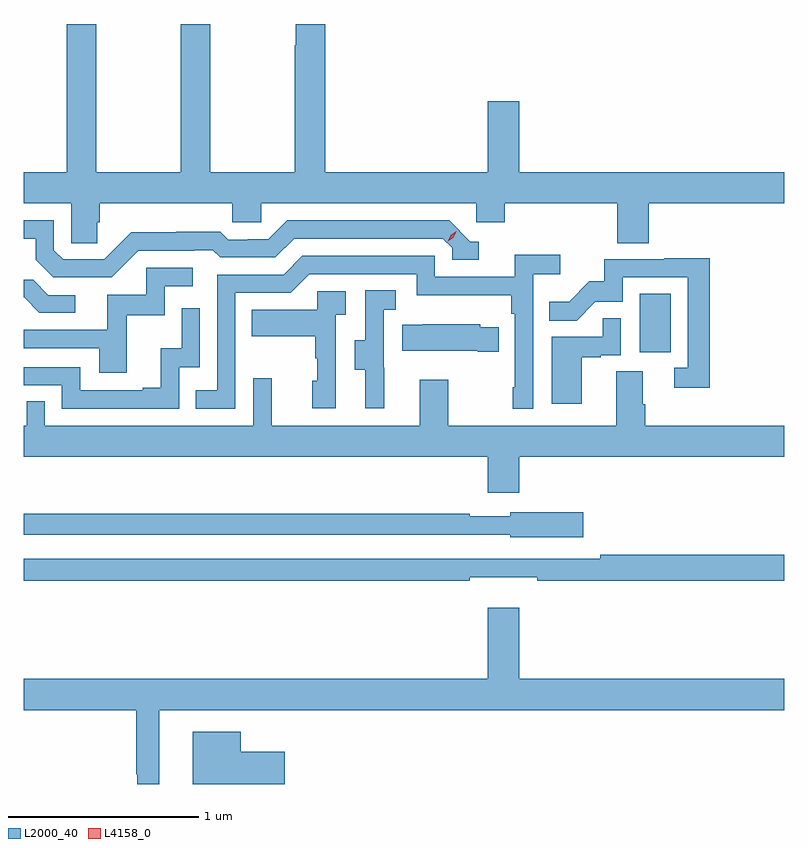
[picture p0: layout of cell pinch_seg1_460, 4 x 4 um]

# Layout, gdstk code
import gdstk
lib = gdstk.Library(unit=1e-6, precision=1e-09)
def R(c, l, rs):  # rectangles x0, y0, x1, y1
    for r in rs: c.add(gdstk.rectangle(r[:2], r[2:], *l))
def P(c, l, *ps):  # polygons
    for p in ps: c.add(gdstk.Polygon(p, *l))
L2000_40 = (2000, 40)
L4158_0 = (4158, 0)

pinch_seg1_460 = lib.new_cell('pinch_seg1_460')
R(pinch_seg1_460, L2000_40, [(980.99,510.99,981.154,511.297)])
P(pinch_seg1_460, L2000_40, [(978.137,511.674),(978.152,511.674),(978.152,511.772),(978.849,511.772),(978.849,511.674),(978.999,511.674),(978.999,511.772),(980.13,511.772),(980.13,511.674),(980.282,511.674),(980.282,511.772),(980.873,511.772),(980.873,511.564),(981.038,511.564),(981.038,511.772),(981.751,511.772),(981.751,511.936),(980.356,511.936),(980.356,512.311),(980.192,512.311),(980.192,511.936),(979.337,511.936),(979.337,512.716),(979.181,512.716),(979.181,512.603),(979.177,512.603),(979.177,511.936),(978.732,511.936),(978.732,512.716),(978.577,512.716),(978.577,511.936),(978.132,511.936),(978.132,512.716),(977.977,512.716),(977.977,511.936),(977.751,511.936),(977.751,511.772),(978,511.772),(978,511.564),(978.137,511.564)],
  [(978.354,511.524),(978.647,511.524),(978.647,511.527),(978.746,511.527),(978.785,511.488),(979.074,511.488),(979.173,511.587),(979.956,511.587),(980.004,511.539),(980.004,511.476),(980.143,511.476),(980.143,511.572),(980.1,511.572),(979.989,511.683),(979.136,511.683),(979.037,511.584),(978.93,511.584),(978.93,511.581),(978.827,511.581),(978.785,511.624),(978.552,511.624),(978.552,511.621),(978.316,511.621),(978.174,511.479),(977.958,511.479),(977.91,511.527),(977.91,511.683),(977.751,511.683),(977.751,511.587),(977.813,511.587),(977.813,511.477),(977.907,511.383),(978.213,511.383)],
  [(978.864,511.302),(979.155,511.302),(979.254,511.401),(979.818,511.401),(979.818,511.289),(980.314,511.289),(980.314,511.193),(980.334,511.193),(980.334,510.805),(980.322,510.805),(980.322,510.693),(980.43,510.693),(980.43,511.4),(980.572,511.4),(980.572,511.502),(980.333,511.502),(980.333,511.386),(979.914,511.386),(979.914,511.497),(979.217,511.497),(979.118,511.398),(978.768,511.398),(978.768,510.789),(978.655,510.789),(978.655,510.693),(978.864,510.693)],
  [(981.359,511.484),(981.121,511.484),(981.121,511.479),(980.803,511.479),(980.803,511.362),(980.726,511.362),(980.619,511.255),(980.515,511.255),(980.515,511.156),(980.659,511.156),(980.757,511.254),(980.901,511.254),(980.901,511.383),(981.243,511.383),(981.243,510.909),(981.171,510.909),(981.171,510.804),(981.359,510.804)],
  [(978.293,511.185),(978.492,511.185),(978.492,511.338),(978.64,511.338),(978.64,511.434),(978.396,511.434),(978.396,511.293),(978.191,511.293),(978.191,511.107),(977.751,511.107),(977.751,511.011),(978.149,511.011),(978.149,510.882),(978.293,510.882)],
  [(978.022,511.29),(977.88,511.29),(977.8,511.37),(977.751,511.37),(977.751,511.278),(977.753,511.278),(977.834,511.197),(978.022,511.197)],
  [(979.646,510.909),(979.644,510.909),(979.644,511.213),(979.708,511.213),(979.708,511.316),(979.548,511.316),(979.548,511.053),(979.493,511.053),(979.493,510.898),(979.547,510.898),(979.547,510.696),(979.646,510.696)],
  [(979.392,511.187),(979.444,511.187),(979.444,511.311),(979.296,511.311),(979.296,511.213),(978.949,511.213),(978.949,511.073),(979.284,511.073),(979.284,510.959),(979.294,510.959),(979.294,510.84),(979.268,510.84),(979.268,510.696),(979.392,510.696)],
  [(978.57,510.912),(978.678,510.912),(978.678,511.222),(978.582,511.222),(978.582,511.01),(978.473,511.01),(978.473,510.802),(978.377,510.802),(978.377,510.789),(978.048,510.789),(978.048,510.912),(977.751,510.912),(977.751,510.816),(977.952,510.816),(977.952,510.693),(978.57,510.693)],
  [(980.686,510.963),(980.786,510.963),(980.786,510.975),(980.892,510.975),(980.892,511.169),(980.797,511.169),(980.797,511.071),(980.528,511.071),(980.528,510.72),(980.686,510.72)],
  [(980.249,511.12),(980.151,511.12),(980.151,511.138),(979.849,511.138),(979.849,511.135),(979.741,511.135),(979.741,510.998),(980.138,510.998),(980.138,510.991),(980.249,510.991)],
  [(980.356,510.44),(981.751,510.44),(981.751,510.604),(981.02,510.604),(981.02,510.716),(981.007,510.716),(981.007,510.89),(980.867,510.89),(980.867,510.604),(979.983,510.604),(979.983,510.844),(979.835,510.844),(979.835,510.604),(979.055,510.604),(979.055,510.853),(978.957,510.853),(978.957,510.604),(977.862,510.604),(977.862,510.731),(977.766,510.731),(977.766,510.604),(977.751,510.604),(977.751,510.44),(980.192,510.44),(980.192,510.252),(980.356,510.252)],
  [(980.695,510.147),(980.31,510.147),(980.31,510.126),(980.096,510.126),(980.096,510.139),(977.751,510.139),(977.751,510.03),(980.31,510.03),(980.31,510.017),(980.695,510.017)],
  [(980.096,509.807),(980.452,509.807),(980.452,509.788),(981.751,509.788),(981.751,509.924),(980.782,509.924),(980.782,509.904),(977.751,509.904),(977.751,509.788),(980.096,509.788)],
  [(978.463,509.108),(981.751,509.108),(981.751,509.272),(980.356,509.272),(980.356,509.647),(980.192,509.647),(980.192,509.272),(977.751,509.272),(977.751,509.108),(978.342,509.108),(978.342,508.771),(978.349,508.771),(978.349,508.719),(978.463,508.719)],
  [(979.123,508.888),(978.892,508.888),(978.892,508.993),(978.641,508.993),(978.641,508.719),(979.123,508.719)])
P(pinch_seg1_460, L4158_0, [(979.98,511.573),(979.98,511.573),(979.996,511.606),(980.027,511.625),(980.027,511.625),(980.027,511.625),(980.011,511.592),(979.98,511.573)])

lib.write_gds('pinch_seg1_460.gds')
